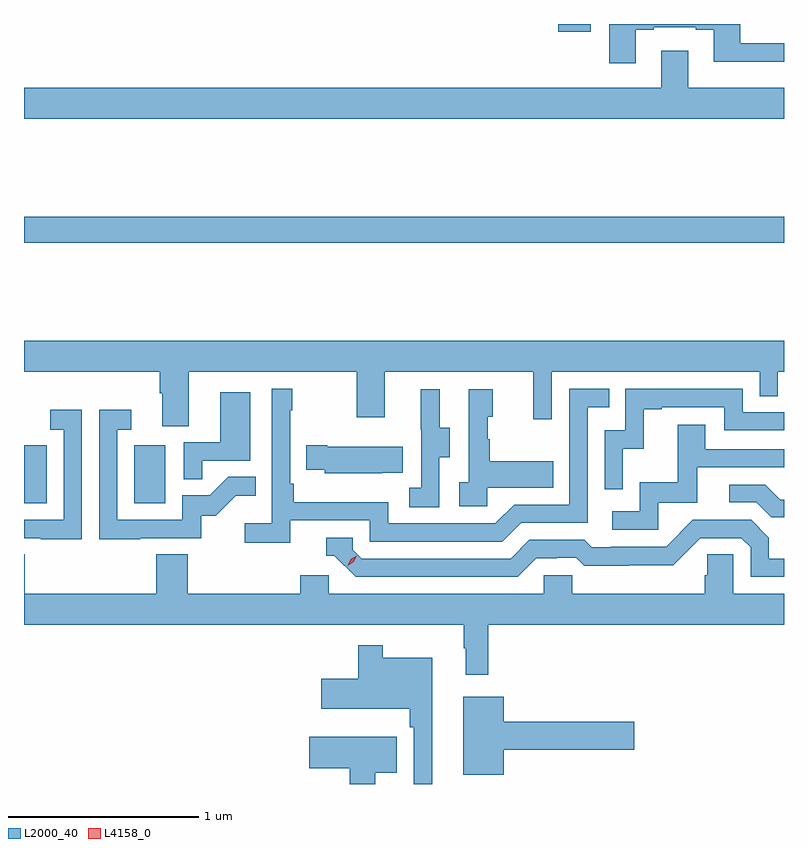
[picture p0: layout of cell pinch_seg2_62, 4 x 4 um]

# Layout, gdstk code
import gdstk
lib = gdstk.Library(unit=1e-6, precision=1e-09)
def R(c, l, rs):  # rectangles x0, y0, x1, y1
    for r in rs: c.add(gdstk.rectangle(r[:2], r[2:], *l))
def P(c, l, *ps):  # polygons
    for p in ps: c.add(gdstk.Polygon(p, *l))
L2000_40 = (2000, 40)
L4158_0 = (4158, 0)

pinch_seg2_62 = lib.new_cell('pinch_seg2_62')
R(pinch_seg2_62, L2000_40, [(1017.886,658.932,1018.006,659.239), (1018.466,658.932,1018.63,659.239), (1017.886,660.304,1021.886,660.44), (1020.698,661.413,1020.868,661.455)])
P(pinch_seg2_62, L2000_40, [(1021.105,661.425),(1021.201,661.425),(1021.201,661.437),(1021.421,661.437),(1021.421,661.425),(1021.517,661.425),(1021.517,661.256),(1021.886,661.256),(1021.886,661.353),(1021.657,661.353),(1021.657,661.455),(1020.965,661.455),(1020.965,661.248),(1021.105,661.248)],
  [(1021.886,661.12),(1021.381,661.12),(1021.381,661.315),(1021.241,661.315),(1021.241,661.12),(1017.886,661.12),(1017.886,660.956),(1021.886,660.956)],
  [(1018.753,659.624),(1019.638,659.624),(1019.638,659.385),(1019.785,659.385),(1019.785,659.624),(1020.566,659.624),(1020.566,659.376),(1020.663,659.376),(1020.663,659.624),(1021.758,659.624),(1021.758,659.497),(1021.854,659.497),(1021.854,659.624),(1021.886,659.624),(1021.886,659.788),(1017.886,659.788),(1017.886,659.624),(1018.601,659.624),(1018.601,659.512),(1018.613,659.512),(1018.613,659.338),(1018.753,659.338)],
  [(1019.288,658.842),(1019.706,658.842),(1019.706,658.731),(1020.403,658.731),(1020.502,658.83),(1020.852,658.83),(1020.852,659.439),(1020.965,659.439),(1020.965,659.535),(1020.756,659.535),(1020.756,658.926),(1020.465,658.926),(1020.366,658.827),(1019.802,658.827),(1019.802,658.939),(1019.306,658.939),(1019.306,659.035),(1019.286,659.035),(1019.286,659.423),(1019.299,659.423),(1019.299,659.536),(1019.19,659.536),(1019.19,658.828),(1019.049,658.828),(1019.049,658.726),(1019.288,658.726)],
  [(1021.038,659.219),(1021.148,659.219),(1021.148,659.427),(1021.243,659.427),(1021.243,659.439),(1021.572,659.439),(1021.572,659.316),(1021.886,659.316),(1021.886,659.412),(1021.668,659.412),(1021.668,659.535),(1021.05,659.535),(1021.05,659.316),(1020.942,659.316),(1020.942,659.007),(1021.038,659.007)],
  [(1020.072,659.176),(1020.127,659.176),(1020.127,659.331),(1020.073,659.331),(1020.073,659.533),(1019.975,659.533),(1019.975,659.319),(1019.976,659.319),(1019.976,659.015),(1019.913,659.015),(1019.913,658.912),(1020.072,658.912)],
  [(1020.324,659.015),(1020.671,659.015),(1020.671,659.155),(1020.337,659.155),(1020.337,659.27),(1020.327,659.27),(1020.327,659.388),(1020.352,659.388),(1020.352,659.533),(1020.228,659.533),(1020.228,659.042),(1020.177,659.042),(1020.177,658.917),(1020.324,658.917)],
  [(1018.823,659.157),(1019.077,659.157),(1019.077,659.518),(1018.919,659.518),(1018.919,659.253),(1018.728,659.253),(1018.728,659.059),(1018.823,659.059)],
  [(1018.191,659.425),(1018.023,659.425),(1018.023,659.319),(1018.095,659.319),(1018.095,658.845),(1017.886,658.845),(1017.886,658.749),(1017.973,658.749),(1017.973,658.744),(1018.191,658.744)],
  [(1018.499,658.749),(1018.818,658.749),(1018.818,658.866),(1018.894,658.866),(1019.001,658.973),(1019.105,658.973),(1019.105,659.072),(1018.961,659.072),(1018.863,658.974),(1018.719,658.974),(1018.719,658.845),(1018.377,658.845),(1018.377,659.319),(1018.45,659.319),(1018.45,659.425),(1018.281,659.425),(1018.281,658.744),(1018.499,658.744)],
  [(1021.224,658.935),(1021.429,658.935),(1021.429,659.121),(1021.886,659.121),(1021.886,659.217),(1021.471,659.217),(1021.471,659.347),(1021.327,659.347),(1021.327,659.044),(1021.128,659.044),(1021.128,658.89),(1020.981,658.89),(1020.981,658.794),(1021.224,658.794)],
  [(1019.771,659.093),(1019.879,659.093),(1019.879,659.23),(1019.482,659.23),(1019.482,659.238),(1019.371,659.238),(1019.371,659.108),(1019.469,659.108),(1019.469,659.09),(1019.771,659.09)],
  [(1021.886,658.95),(1021.867,658.95),(1021.786,659.031),(1021.599,659.031),(1021.599,658.938),(1021.74,658.938),(1021.82,658.858),(1021.886,658.858)],
  [(1020.583,658.644),(1020.69,658.644),(1020.69,658.647),(1020.793,658.647),(1020.835,658.605),(1021.068,658.605),(1021.068,658.607),(1021.304,658.607),(1021.446,658.749),(1021.662,658.749),(1021.71,658.701),(1021.71,658.545),(1021.886,658.545),(1021.886,658.641),(1021.807,658.641),(1021.807,658.751),(1021.713,658.845),(1021.407,658.845),(1021.266,658.704),(1020.973,658.704),(1020.973,658.701),(1020.874,658.701),(1020.835,658.74),(1020.546,658.74),(1020.447,658.641),(1019.664,658.641),(1019.616,658.689),(1019.616,658.752),(1019.477,658.752),(1019.477,658.656),(1019.52,658.656),(1019.631,658.545),(1020.484,658.545)],
  [(1019.49,658.554),(1019.339,658.554),(1019.339,658.456),(1018.748,658.456),(1018.748,658.664),(1018.583,658.664),(1018.583,658.456),(1017.89,658.456),(1017.89,658.664),(1017.886,658.664),(1017.886,658.292),(1020.201,658.292),(1020.201,658.169),(1020.212,658.169),(1020.212,658.029),(1020.329,658.029),(1020.329,658.292),(1021.886,658.292),(1021.886,658.456),(1021.62,658.456),(1021.62,658.664),(1021.483,658.664),(1021.483,658.554),(1021.469,658.554),(1021.469,658.456),(1020.771,658.456),(1020.771,658.554),(1020.621,658.554),(1020.621,658.456),(1019.49,658.456)],
  [(1020.034,658.12),(1019.773,658.12),(1019.773,658.186),(1019.644,658.186),(1019.644,658.009),(1019.451,658.009),(1019.451,657.851),(1019.917,657.851),(1019.917,657.755),(1019.937,657.755),(1019.937,657.455),(1020.034,657.455)],
  [(1020.412,657.635),(1021.099,657.635),(1021.099,657.782),(1020.412,657.782),(1020.412,657.913),(1020.197,657.913),(1020.197,657.503),(1020.412,657.503)],
  [(1019.734,657.515),(1019.848,657.515),(1019.848,657.703),(1019.388,657.703),(1019.388,657.538),(1019.6,657.538),(1019.6,657.455),(1019.734,657.455)])
P(pinch_seg2_62, L4158_0, [(1019.591,658.604),(1019.591,658.605),(1019.607,658.637),(1019.638,658.657),(1019.638,658.657),(1019.638,658.657),(1019.622,658.624),(1019.591,658.604)])

lib.write_gds('pinch_seg2_62.gds')
